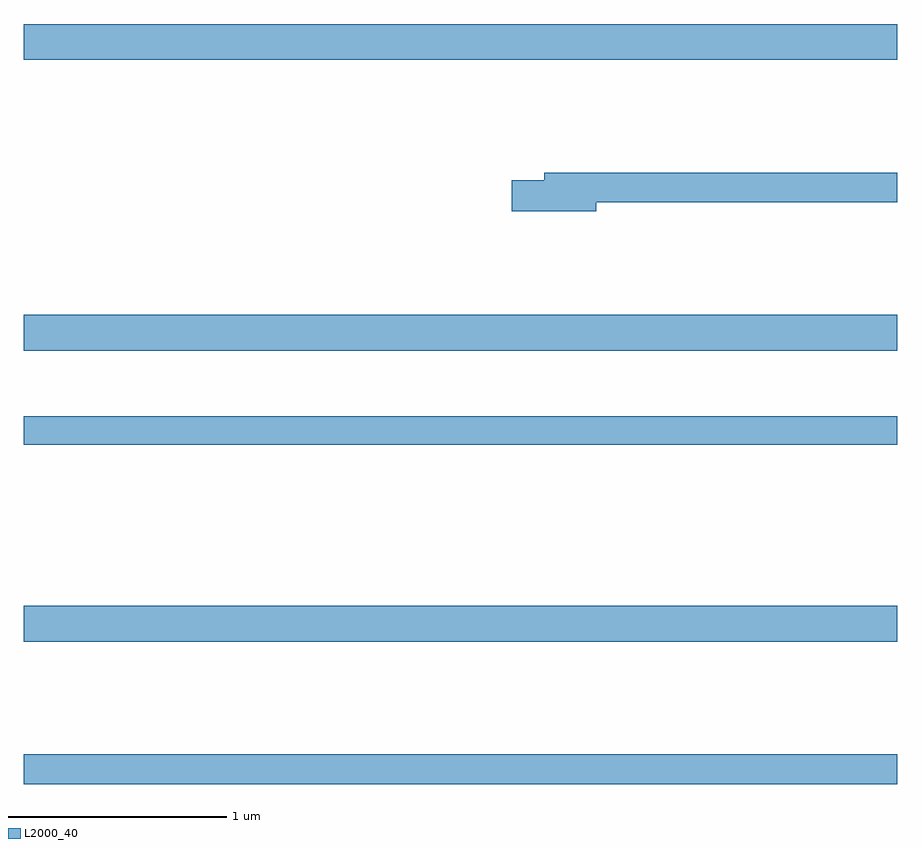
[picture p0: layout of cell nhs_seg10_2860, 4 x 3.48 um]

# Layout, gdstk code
import gdstk
lib = gdstk.Library(unit=1e-6, precision=1e-09)
def R(c, l, rs):  # rectangles x0, y0, x1, y1
    for r in rs: c.add(gdstk.rectangle(r[:2], r[2:], *l))
def A(c, l, x, y, w, h, nx, ny, dx, dy):  # array of equal rectangles
    R(c, l, [(x+i*dx, y+j*dy, x+i*dx+w, y+j*dy+h) for i in range(nx) for j in range(ny)])
def P(c, l, *ps):  # polygons
    for p in ps: c.add(gdstk.Polygon(p, *l))
L2000_40 = (2000, 40)

nhs_seg10_2860 = lib.new_cell('nhs_seg10_2860')
A(nhs_seg10_2860, L2000_40, 265, 1321.628, 4, 0.164, 1, 3, 0, 1.332)
R(nhs_seg10_2860, L2000_40, [(265,1320.976,269,1321.112), (265,1322.53,269,1322.659)])
P(nhs_seg10_2860, L2000_40, [(267.622,1323.64),(269,1323.64),(269,1323.776),(267.383,1323.776),(267.383,1323.74),(267.234,1323.74),(267.234,1323.598),(267.622,1323.598)])

lib.write_gds('nhs_seg10_2860.gds')
